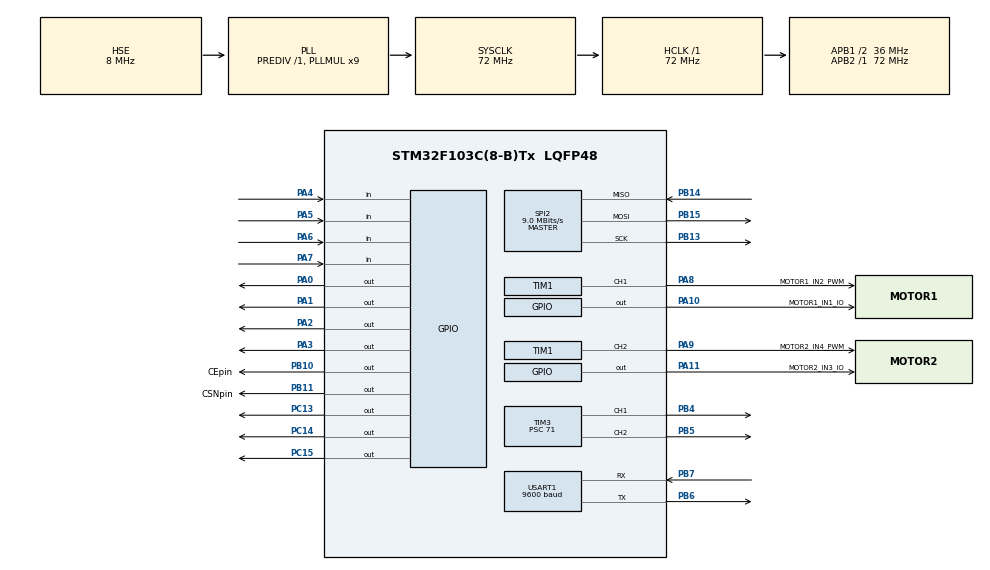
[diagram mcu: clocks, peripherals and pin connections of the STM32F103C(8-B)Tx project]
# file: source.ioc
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Mcu.Family=STM32F1
Mcu.Name=STM32F103C(8-B)Tx
Mcu.Package=LQFP48
NVIC.PriorityGroup=NVIC_PRIORITYGROUP_4
NVIC.USART1_IRQn=true\:1\:0\:true\:false\:true\:true\:true\:true
PA0-WKUP.Signal=GPIO_Output
PA1.Signal=GPIO_Output
PA10.GPIO_Label=MOTOR1_IN1_IO
PA10.Signal=GPIO_Output
PA11.GPIO_Label=MOTOR2_IN3_IO
PA11.Signal=GPIO_Output
PA13.Mode=Serial_Wire
PA13.Signal=SYS_JTMS-SWDIO
PA14.Mode=Serial_Wire
PA14.Signal=SYS_JTCK-SWCLK
PA2.Signal=GPIO_Output
PA3.Signal=GPIO_Output
PA4.GPIO_Mode=GPIO_MODE_INPUT
PA4.GPIO_PuPd=GPIO_PULLUP
PA4.Signal=GPIO_Input
PA5.GPIO_Mode=GPIO_MODE_INPUT
PA5.GPIO_PuPd=GPIO_PULLUP
PA5.Signal=GPIO_Input
PA6.GPIO_Mode=GPIO_MODE_INPUT
PA6.GPIO_PuPd=GPIO_PULLUP
PA6.Signal=GPIO_Input
PA7.GPIO_Mode=GPIO_MODE_INPUT
PA7.GPIO_PuPd=GPIO_PULLUP
PA7.Signal=GPIO_Input
PA8.GPIO_Label=MOTOR1_IN2_PWM
PA8.Signal=S_TIM1_CH1
PA9.GPIO_Label=MOTOR2_IN4_PWM
PA9.Signal=S_TIM1_CH2
PB10.GPIO_Label=CEpin
PB10.Signal=GPIO_Output
PB11.GPIO_Label=CSNpin
PB11.Signal=GPIO_Output
PB13.Mode=Full_Duplex_Master
PB13.Signal=SPI2_SCK
PB14.Mode=Full_Duplex_Master
PB14.Signal=SPI2_MISO
PB15.Mode=Full_Duplex_Master
PB15.Signal=SPI2_MOSI
PB4.Signal=S_TIM3_CH1
PB5.Signal=S_TIM3_CH2
PB6.Mode=Asynchronous
PB6.Signal=USART1_TX
PB7.Mode=Asynchronous
PB7.Signal=USART1_RX
PC13-TAMPER-RTC.Signal=GPIO_Output
PC14-OSC32_IN.Signal=GPIO_Output
PC15-OSC32_OUT.Signal=GPIO_Output
PD0-OSC_IN.Mode=HSE-External-Oscillator
PD0-OSC_IN.Signal=RCC_OSC_IN
PD1-OSC_OUT.Mode=HSE-External-Oscillator
PD1-OSC_OUT.Signal=RCC_OSC_OUT
ProjectManager.HeapSize=0x200
ProjectManager.StackSize=0x400
ProjectManager.TargetToolchain=MDK-ARM V5
RCC.AHBFreq_Value=72000000
RCC.APB1CLKDivider=RCC_HCLK_DIV2
RCC.APB1Freq_Value=36000000
RCC.APB1TimFreq_Value=72000000
RCC.APB2Freq_Value=72000000
RCC.APB2TimFreq_Value=72000000
RCC.HCLKFreq_Value=72000000
RCC.PLLMUL=RCC_PLL_MUL9
RCC.PLLSourceVirtual=RCC_PLLSOURCE_HSE
RCC.SYSCLKFreq_VALUE=72000000
RCC.SYSCLKSource=RCC_SYSCLKSOURCE_PLLCLK
RCC.USBFreq_Value=72000000
SH.S_TIM1_CH1.0=TIM1_CH1,PWM Generation1 CH1
SH.S_TIM1_CH2.0=TIM1_CH2,PWM Generation2 CH2
SH.S_TIM3_CH1.0=TIM3_CH1,PWM Generation1 CH1
SH.S_TIM3_CH2.0=TIM3_CH2,PWM Generation2 CH2
SPI2.BaudRatePrescaler=SPI_BAUDRATEPRESCALER_4
SPI2.CalculateBaudRate=9.0 MBits/s
SPI2.Direction=SPI_DIRECTION_2LINES
SPI2.Mode=SPI_MODE_MASTER
SPI2.VirtualType=VM_MASTER
TIM1.Channel-PWM\ Generation1\ CH1=TIM_CHANNEL_1
TIM1.Channel-PWM\ Generation2\ CH2=TIM_CHANNEL_2
TIM1.Period=999
TIM1.Prescaler=71
TIM3.Channel-PWM\ Generation1\ CH1=TIM_CHANNEL_1
TIM3.Channel-PWM\ Generation2\ CH2=TIM_CHANNEL_2
TIM3.Period=999
TIM3.Prescaler=71
USART1.BaudRate=9600
USART1.VirtualMode=VM_ASYNC
VP_TIM1_VS_ClockSourceINT.Mode=Internal
VP_TIM3_VS_ClockSourceINT.Mode=Internal
board=custom

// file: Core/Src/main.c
/* USER CODE BEGIN Header */
/**
  ******************************************************************************
  * @file           : main.c
  * @brief          : Main program body
  ******************************************************************************
  * @attention
  *
  * Copyright (c) 2022 STMicroelectronics.
  * All rights reserved.
  *
  * This software is licensed under terms that can be found in the LICENSE file
  * in the root directory of this software component.
  * If no LICENSE file comes with this software, it is provided AS-IS.
  *
  ******************************************************************************
  */
/* USER CODE END Header */
#include "main.h"

/* USER CODE BEGIN Includes */
#include "Motor.h"
#include "Car.h"
#include "MY_NRF24.h"
#include "EOS.h"
#include "keypad.h"
#include <stdlib.h>
/* USER CODE END Includes */

/* USER CODE BEGIN PTD */
typedef enum
{
	BLUETOOTH = 0U,
	NRF24,
} SIGNAL_STATE;

typedef enum
{
	NORMAL_STATE = 0u,
	LOCK_STATE,
	ENTER_LOCK_STATE,
	LOCK_30S_STATE
} SYSTEM_STATE;

/* USER CODE END PTD */

/* USER CODE BEGIN PD */
#define PASS_LEN	8
/* USER CODE END PD */

SPI_HandleTypeDef hspi2;

TIM_HandleTypeDef htim1;
TIM_HandleTypeDef htim3;

UART_HandleTypeDef huart1;

/* USER CODE BEGIN PV */

// Declare System State
SYSTEM_STATE sys_state = LOCK_STATE;

// Declare Signal state
SIGNAL_STATE signal_state;

// Declare Motor
Motor_Typedef Motor_Left;
Motor_Typedef Motor_Right;

// Declare UART Bluetooth variables
uint8_t rx_data;
uint8_t uart_flag = 0;
uint8_t car_speed = 80;

// Declare NRF24 variables
uint64_t RxpipeAddrs = 0x11223344AA;
char myRxData[50];

// Declare KEYPAD Var
volatile uint8_t key = 0;
uint8_t key_last;
uint8_t pass[PASS_LEN + 1] = "12345678";
uint8_t pass_buff[PASS_LEN + 1];
uint8_t _index = 0;
uint32_t time_lock_30s = 0;
uint32_t time_led_err = 0;

/* USER CODE END PV */

void SystemClock_Config(void);
static void MX_GPIO_Init(void);
static void MX_TIM1_Init(void);
static void MX_USART1_UART_Init(void);
static void MX_SPI2_Init(void);
static void MX_TIM3_Init(void);

/* USER CODE BEGIN 0 */

// ----------------------- 1. UART Interrupt Callback -----------------------------
void HAL_UART_RxCpltCallback(UART_HandleTypeDef *huart)
{
	if (huart->Instance == huart1.Instance)
	{
		uart_flag = 1;
		HAL_UART_Receive_IT(&huart1, &rx_data, 1);
	}
}
//---------------------------------------------------------------------------------

//-------------------- 2. UART Bluetooth Processing -------------------------------
void uart_handle(void)
{
	if (uart_flag && (signal_state == BLUETOOTH))
	{
		switch (rx_data)
		{
			case 'S':
			{
				car_control(CAR_STOP_STATE, 0);
				break;
			}
			case 'F':
			{
				car_control(CAR_FORWARD_STATE, car_speed);
				break;
			}
			case 'B':
			{
				car_control(CAR_BACKWARD_STATE, car_speed);
				break;
			}
			case 'L':
			{
				car_control(CAR_LEFT_STATE, car_speed);
				break;
			}
			case 'R':
			{
				car_control(CAR_RIGHT_STATE, car_speed);
				break;
			}
			default:
			{
				if ('0' <= rx_data && rx_data <= '9')
				{
					car_speed = (rx_data - '0')*10;
				}
				break;
			}
		}
		uart_flag = 0;
	}
}
//----------------------------------------------------------------------------------

//------------------------------ 3. NRF24 Processing -------------------------------
void NRF24_handle(void)
{
	if(NRF24_available())
	{
		NRF24_read(myRxData, 32);
	}
	switch (myRxData[0])
	{
		case 'O':
		{
			signal_state = BLUETOOTH;
			break;
		}
		case 'S':
		{
			car_control(CAR_STOP_STATE, 0);
			break;
		}
		case 'F':
		{
			car_control(CAR_FORWARD_STATE, 95);
			break;
		}
		case 'B':
		{
			car_control(CAR_BACKWARD_STATE, 95);
			break;
		}
		case 'R':
		{
			car_control(CAR_RIGHT_STATE, 50);
			break;
		}
		case 'L':
		{
			car_control(CAR_LEFT_STATE, 50);
			break;
		}
	}
}
//----------------------------------------------------------------------------------

//------------------------- 4. KEYPAD 4x4 Processing -------------------------------
void KEYPAD_Handle(uint8_t key)
{
	switch (sys_state)
	{
		case NORMAL_STATE:
		{
			// No task
			// Car is controlling
			break;
		}
		case LOCK_STATE:
		{
			if (key == 'D')
			{
				// Push D key to fill password
				sys_state = ENTER_LOCK_STATE;
				HAL_GPIO_TogglePin(GPIOC, GPIO_PIN_14);
			}
			break;
		}
		case ENTER_LOCK_STATE:
		{
			if ((key >= '0') && (key <= '9'))
			{
				if (key != key_last)
				{
					if (_index < 8)
					{
						pass_buff[_index++] = key;
						HAL_GPIO_TogglePin(GPIOC, GPIO_PIN_14);
						key_last = key;
						if (_index == 8)
						{
							pass_buff[_index] = '\0';
						}
					}
				}
			}
			else if (key == 'A')
			{
				// Push A key to check password
				if (strcmp((char *)pass_buff, (char *)pass) == 0)
				{
					// Password correct
					sys_state = NORMAL_STATE;
					HAL_GPIO_WritePin(GPIOC, GPIO_PIN_13,GPIO_PIN_RESET);
				}
				else
				{
					sys_state = LOCK_30S_STATE;
					_index = 0;
				}
				HAL_GPIO_TogglePin(GPIOC, GPIO_PIN_14);
			}
			break;
		}
		case LOCK_30S_STATE:
		{
			if (++time_led_err >=20)
			{
				HAL_GPIO_TogglePin(GPIOC,GPIO_PIN_13);
				time_led_err = 0;
			}
			// waiting 30 second
			if (++time_lock_30s >= 1000)
			{
				memset(pass_buff, 0, PASS_LEN);
				sys_state = LOCK_STATE;
				HAL_GPIO_WritePin(GPIOC, GPIO_PIN_13, GPIO_PIN_SET);
				HAL_GPIO_WritePin(GPIOC, GPIO_PIN_14, GPIO_PIN_SET);
				time_lock_30s = 0;
			}
			break;
		}
		default:

			break;
	}
}
//----------------------------------------------------------------------------------

//------------------------- 5. SysTick Interrupt -----------------------------------
void SysTick_Handler(void)
{
	HAL_IncTick();
	key = KEYPAD_GetKey();
	KEYPAD_Handle(key);
}
//----------------------------------------------------------------------------------

/* USER CODE END 0 */

int main(void)
{

  /* MCU Configuration--------------------------------------------------------*/

  /* Reset of all peripherals, Initializes the Flash interface and the Systick. */
  HAL_Init();

  /* Configure the system clock */
  SystemClock_Config();

  /* Initialize all configured peripherals */
  MX_GPIO_Init();
  MX_TIM1_Init();
  MX_USART1_UART_Init();
  MX_SPI2_Init();
  MX_TIM3_Init();
  /* USER CODE BEGIN 2 */

	// Initialize NRF24
	NRF24_begin(CEpin_GPIO_Port, CSNpin_Pin, CEpin_Pin, hspi2);

	NRF24_setAutoAck(false);
	NRF24_setChannel(52);
	NRF24_setPayloadSize(32);
	NRF24_openReadingPipe(1, RxpipeAddrs);
	NRF24_enableDynamicPayloads();
	NRF24_enableAckPayload();
	HAL_Delay(200);
	NRF24_startListening();

	// UART Recieve Interrupt
	HAL_UART_Receive_IT(&huart1, &rx_data, 1);

	// EOS Init with 5ms cycles interrupt
	EOS_Init(5);

	// Inittialize System state
	sys_state = LOCK_STATE;

	// Initialize Signal state
	signal_state = BLUETOOTH;

	// Initialize CAR Robot
	car_init(&htim1);
	HAL_GPIO_WritePin(GPIOC, GPIO_PIN_13, GPIO_PIN_SET);
	HAL_GPIO_WritePin(GPIOC, GPIO_PIN_15, GPIO_PIN_SET);
	HAL_GPIO_WritePin(GPIOC, GPIO_PIN_14, GPIO_PIN_SET);

  /* USER CODE END 2 */

  /* Infinite loop */
  while (1)
  {

    /* USER CODE BEGIN 3 */

		// Unclocking CAR
		if (sys_state == NORMAL_STATE)
		{
			// UART Bluetooth controlling car
			if (signal_state == BLUETOOTH)
			{
				uart_handle();
			}

			// NRF24 controlling car
			NRF24_handle();
		}

  }
  /* USER CODE END 3 */
}

void SystemClock_Config(void)
{
  RCC_OscInitTypeDef RCC_OscInitStruct = {0};
  RCC_ClkInitTypeDef RCC_ClkInitStruct = {0};

  /** Initializes the RCC Oscillators according to the specified parameters
  * in the RCC_OscInitTypeDef structure.
  */
  RCC_OscInitStruct.OscillatorType = RCC_OSCILLATORTYPE_HSE;
  RCC_OscInitStruct.HSEState = RCC_HSE_ON;
  RCC_OscInitStruct.HSEPredivValue = RCC_HSE_PREDIV_DIV1;
  RCC_OscInitStruct.HSIState = RCC_HSI_ON;
  RCC_OscInitStruct.PLL.PLLState = RCC_PLL_ON;
  RCC_OscInitStruct.PLL.PLLSource = RCC_PLLSOURCE_HSE;
  RCC_OscInitStruct.PLL.PLLMUL = RCC_PLL_MUL9;
  if (HAL_RCC_OscConfig(&RCC_OscInitStruct) != HAL_OK)
  {
    Error_Handler();
  }

  /** Initializes the CPU, AHB and APB buses clocks
  */
  RCC_ClkInitStruct.ClockType = RCC_CLOCKTYPE_HCLK|RCC_CLOCKTYPE_SYSCLK
                              |RCC_CLOCKTYPE_PCLK1|RCC_CLOCKTYPE_PCLK2;
  RCC_ClkInitStruct.SYSCLKSource = RCC_SYSCLKSOURCE_PLLCLK;
  RCC_ClkInitStruct.AHBCLKDivider = RCC_SYSCLK_DIV1;
  RCC_ClkInitStruct.APB1CLKDivider = RCC_HCLK_DIV2;
  RCC_ClkInitStruct.APB2CLKDivider = RCC_HCLK_DIV1;

  if (HAL_RCC_ClockConfig(&RCC_ClkInitStruct, FLASH_LATENCY_2) != HAL_OK)
  {
    Error_Handler();
  }
}

static void MX_SPI2_Init(void)
{

  /* SPI2 parameter configuration*/
  hspi2.Instance = SPI2;
  hspi2.Init.Mode = SPI_MODE_MASTER;
  hspi2.Init.Direction = SPI_DIRECTION_2LINES;
  hspi2.Init.DataSize = SPI_DATASIZE_8BIT;
  hspi2.Init.CLKPolarity = SPI_POLARITY_LOW;
  hspi2.Init.CLKPhase = SPI_PHASE_1EDGE;
  hspi2.Init.NSS = SPI_NSS_SOFT;
  hspi2.Init.BaudRatePrescaler = SPI_BAUDRATEPRESCALER_4;
  hspi2.Init.FirstBit = SPI_FIRSTBIT_MSB;
  hspi2.Init.TIMode = SPI_TIMODE_DISABLE;
  hspi2.Init.CRCCalculation = SPI_CRCCALCULATION_DISABLE;
  hspi2.Init.CRCPolynomial = 10;
  if (HAL_SPI_Init(&hspi2) != HAL_OK)
  {
    Error_Handler();
  }

}

static void MX_TIM1_Init(void)
{

  TIM_ClockConfigTypeDef sClockSourceConfig = {0};
  TIM_MasterConfigTypeDef sMasterConfig = {0};
  TIM_OC_InitTypeDef sConfigOC = {0};
  TIM_BreakDeadTimeConfigTypeDef sBreakDeadTimeConfig = {0};

  htim1.Instance = TIM1;
  htim1.Init.Prescaler = 71;
  htim1.Init.CounterMode = TIM_COUNTERMODE_UP;
  htim1.Init.Period = 999;
  htim1.Init.ClockDivision = TIM_CLOCKDIVISION_DIV1;
  htim1.Init.RepetitionCounter = 0;
  htim1.Init.AutoReloadPreload = TIM_AUTORELOAD_PRELOAD_DISABLE;
  if (HAL_TIM_Base_Init(&htim1) != HAL_OK)
  {
    Error_Handler();
  }
  sClockSourceConfig.ClockSource = TIM_CLOCKSOURCE_INTERNAL;
  if (HAL_TIM_ConfigClockSource(&htim1, &sClockSourceConfig) != HAL_OK)
  {
    Error_Handler();
  }
  if (HAL_TIM_PWM_Init(&htim1) != HAL_OK)
  {
    Error_Handler();
  }
  sMasterConfig.MasterOutputTrigger = TIM_TRGO_RESET;
  sMasterConfig.MasterSlaveMode = TIM_MASTERSLAVEMODE_DISABLE;
  if (HAL_TIMEx_MasterConfigSynchronization(&htim1, &sMasterConfig) != HAL_OK)
  {
    Error_Handler();
  }
  sConfigOC.OCMode = TIM_OCMODE_PWM1;
  sConfigOC.Pulse = 0;
  sConfigOC.OCPolarity = TIM_OCPOLARITY_HIGH;
  sConfigOC.OCNPolarity = TIM_OCNPOLARITY_HIGH;
  sConfigOC.OCFastMode = TIM_OCFAST_DISABLE;
  sConfigOC.OCIdleState = TIM_OCIDLESTATE_RESET;
  sConfigOC.OCNIdleState = TIM_OCNIDLESTATE_RESET;
  if (HAL_TIM_PWM_ConfigChannel(&htim1, &sConfigOC, TIM_CHANNEL_1) != HAL_OK)
  {
    Error_Handler();
  }
  if (HAL_TIM_PWM_ConfigChannel(&htim1, &sConfigOC, TIM_CHANNEL_2) != HAL_OK)
  {
    Error_Handler();
  }
  sBreakDeadTimeConfig.OffStateRunMode = TIM_OSSR_DISABLE;
  sBreakDeadTimeConfig.OffStateIDLEMode = TIM_OSSI_DISABLE;
  sBreakDeadTimeConfig.LockLevel = TIM_LOCKLEVEL_OFF;
  sBreakDeadTimeConfig.DeadTime = 0;
  sBreakDeadTimeConfig.BreakState = TIM_BREAK_DISABLE;
  sBreakDeadTimeConfig.BreakPolarity = TIM_BREAKPOLARITY_HIGH;
  sBreakDeadTimeConfig.AutomaticOutput = TIM_AUTOMATICOUTPUT_DISABLE;
  if (HAL_TIMEx_ConfigBreakDeadTime(&htim1, &sBreakDeadTimeConfig) != HAL_OK)
  {
    Error_Handler();
  }
  HAL_TIM_MspPostInit(&htim1);

}

static void MX_TIM3_Init(void)
{

  TIM_ClockConfigTypeDef sClockSourceConfig = {0};
  TIM_MasterConfigTypeDef sMasterConfig = {0};
  TIM_OC_InitTypeDef sConfigOC = {0};

  htim3.Instance = TIM3;
  htim3.Init.Prescaler = 71;
  htim3.Init.CounterMode = TIM_COUNTERMODE_UP;
  htim3.Init.Period = 999;
  htim3.Init.ClockDivision = TIM_CLOCKDIVISION_DIV1;
  htim3.Init.AutoReloadPreload = TIM_AUTORELOAD_PRELOAD_DISABLE;
  if (HAL_TIM_Base_Init(&htim3) != HAL_OK)
  {
    Error_Handler();
  }
  sClockSourceConfig.ClockSource = TIM_CLOCKSOURCE_INTERNAL;
  if (HAL_TIM_ConfigClockSource(&htim3, &sClockSourceConfig) != HAL_OK)
  {
    Error_Handler();
  }
  if (HAL_TIM_PWM_Init(&htim3) != HAL_OK)
  {
    Error_Handler();
  }
  sMasterConfig.MasterOutputTrigger = TIM_TRGO_RESET;
  sMasterConfig.MasterSlaveMode = TIM_MASTERSLAVEMODE_DISABLE;
  if (HAL_TIMEx_MasterConfigSynchronization(&htim3, &sMasterConfig) != HAL_OK)
  {
    Error_Handler();
  }
  sConfigOC.OCMode = TIM_OCMODE_PWM1;
  sConfigOC.Pulse = 0;
  sConfigOC.OCPolarity = TIM_OCPOLARITY_HIGH;
  sConfigOC.OCFastMode = TIM_OCFAST_DISABLE;
  if (HAL_TIM_PWM_ConfigChannel(&htim3, &sConfigOC, TIM_CHANNEL_1) != HAL_OK)
  {
    Error_Handler();
  }
  if (HAL_TIM_PWM_ConfigChannel(&htim3, &sConfigOC, TIM_CHANNEL_2) != HAL_OK)
  {
    Error_Handler();
  }
  HAL_TIM_MspPostInit(&htim3);

}

static void MX_USART1_UART_Init(void)
{

  huart1.Instance = USART1;
  huart1.Init.BaudRate = 9600;
  huart1.Init.WordLength = UART_WORDLENGTH_8B;
  huart1.Init.StopBits = UART_STOPBITS_1;
  huart1.Init.Parity = UART_PARITY_NONE;
  huart1.Init.Mode = UART_MODE_TX_RX;
  huart1.Init.HwFlowCtl = UART_HWCONTROL_NONE;
  huart1.Init.OverSampling = UART_OVERSAMPLING_16;
  if (HAL_UART_Init(&huart1) != HAL_OK)
  {
    Error_Handler();
  }

}

static void MX_GPIO_Init(void)
{
  GPIO_InitTypeDef GPIO_InitStruct = {0};

  /* GPIO Ports Clock Enable */
  __HAL_RCC_GPIOC_CLK_ENABLE();
  __HAL_RCC_GPIOD_CLK_ENABLE();
  __HAL_RCC_GPIOA_CLK_ENABLE();
  __HAL_RCC_GPIOB_CLK_ENABLE();

  /*Configure GPIO pin Output Level */
  HAL_GPIO_WritePin(GPIOC, GPIO_PIN_13|GPIO_PIN_14|GPIO_PIN_15, GPIO_PIN_RESET);

  /*Configure GPIO pin Output Level */
  HAL_GPIO_WritePin(GPIOA, GPIO_PIN_0|GPIO_PIN_1|GPIO_PIN_2|GPIO_PIN_3
                          |MOTOR1_IN1_IO_Pin|MOTOR2_IN3_IO_Pin, GPIO_PIN_RESET);

  /*Configure GPIO pin Output Level */
  HAL_GPIO_WritePin(GPIOB, CEpin_Pin|CSNpin_Pin, GPIO_PIN_RESET);

  /*Configure GPIO pins : PC13 PC14 PC15 */
  GPIO_InitStruct.Pin = GPIO_PIN_13|GPIO_PIN_14|GPIO_PIN_15;
  GPIO_InitStruct.Mode = GPIO_MODE_OUTPUT_PP;
  GPIO_InitStruct.Pull = GPIO_NOPULL;
  GPIO_InitStruct.Speed = GPIO_SPEED_FREQ_LOW;
  HAL_GPIO_Init(GPIOC, &GPIO_InitStruct);

  /*Configure GPIO pins : PA0 PA1 PA2 PA3
                           MOTOR1_IN1_IO_Pin MOTOR2_IN3_IO_Pin */
  GPIO_InitStruct.Pin = GPIO_PIN_0|GPIO_PIN_1|GPIO_PIN_2|GPIO_PIN_3
                          |MOTOR1_IN1_IO_Pin|MOTOR2_IN3_IO_Pin;
  GPIO_InitStruct.Mode = GPIO_MODE_OUTPUT_PP;
  GPIO_InitStruct.Pull = GPIO_NOPULL;
  GPIO_InitStruct.Speed = GPIO_SPEED_FREQ_LOW;
  HAL_GPIO_Init(GPIOA, &GPIO_InitStruct);

  /*Configure GPIO pins : PA4 PA5 PA6 PA7 */
  GPIO_InitStruct.Pin = GPIO_PIN_4|GPIO_PIN_5|GPIO_PIN_6|GPIO_PIN_7;
  GPIO_InitStruct.Mode = GPIO_MODE_INPUT;
  GPIO_InitStruct.Pull = GPIO_PULLUP;
  HAL_GPIO_Init(GPIOA, &GPIO_InitStruct);

  /*Configure GPIO pins : CEpin_Pin CSNpin_Pin */
  GPIO_InitStruct.Pin = CEpin_Pin|CSNpin_Pin;
  GPIO_InitStruct.Mode = GPIO_MODE_OUTPUT_PP;
  GPIO_InitStruct.Pull = GPIO_NOPULL;
  GPIO_InitStruct.Speed = GPIO_SPEED_FREQ_LOW;
  HAL_GPIO_Init(GPIOB, &GPIO_InitStruct);

}

void Error_Handler(void)
{
  __disable_irq();
  while (1)
  {
  }
}
